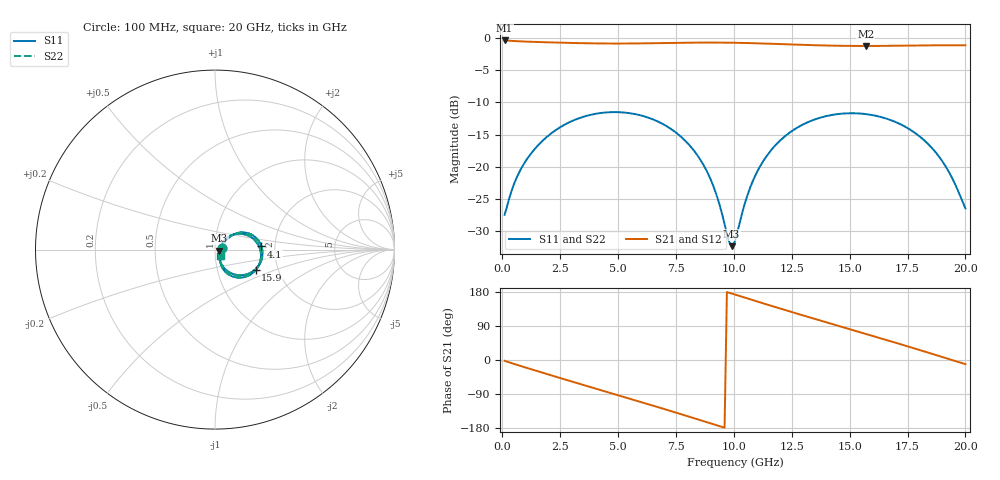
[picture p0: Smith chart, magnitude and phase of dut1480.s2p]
! Touchstone file exported from HFSS 2026.1.0
!  File:  C:/ffzhzh/LocalFiles/Ansys_Project_Files/temp_train_TSV_RDL_1480_1783362827_50076.aedt
!  Generated:  02:46:11 AM Jul  7, 2026
!  Design:  TSV_RDL
!  Project:  temp_train_TSV_RDL_1480_1783362827_50076
! Variables:
!  h_bsmrdl = 2.13um
!  h_ox = 20um
!  h_rdl = 5um
!  h_sub = 55.23um
!  h_tmrdl = 2.49um
!  h_tsv = 55.23um
!  h_via = 3um
!  l_bsmrdl = 756.19um
!  l_sub = 6477.47um
!  l_tmrdl = 919.15um
!  m_sub = 200um
!  pitch = 31.74um
!  r_tsv = 10.87um
!  s_tmrdl = 10um
!  w_bsmrdl = 19.08um
!  w_sub = 500um
!  w_tmrdl = 25.02um
!  x_tsv_center1 = 931.66um
!  x_tsv_center2 = 1706.93um
!  x_tsv_center3 = 2651.1um
!  x_tsv_center4 = 3426.37um
!  x_tsv_center5 = 4370.54um
!  x_tsv_center6 = 5145.81um
# GHz S MA R 50.000000
! Terminal data exported
! Port[1] = TM_RDL1_1_T1
! Port[2] = TM_RDL5_1_T1
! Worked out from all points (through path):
!   200 points, 100 MHz to 20 GHz, reference 50 ohm
!   highest |S21| = -0.36 dB at 100 MHz (marker M1); lowest = -1.2 dB at 15.7 GHz (marker M2)
!   group delay of S21, straight-line fit = 51.4 ps
!   lowest |S11| = -32.4 dB at 9.9 GHz (marker M3), VSWR 1.05, Z = 52.4 - j0.612 ohm
!   |S11| at or under -10 dB: start of sweep to end of sweep
!   |S22| runs from -32.6 to -11.5 dB; largest |S21 - S12| = 1.7e-14
!   S11 on the Smith chart (normalised r, x): 100 MHz: 1.08, +0.02; 4.1 GHz: 1.70, +0.06; 15.9 GHz: 1.53, -0.38; 20 GHz: 1.06, -0.08
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0.1  0.04232 15.4  0.9596 -2.2  0.9596 -2.2  0.04232 15.4
! Gamma 0 0 0 0
! Port Impedance 50 0 50 0
0.6  0.08071 39.5  0.9476 -12.2  0.9476 -12.2  0.08071 39.5
1.3  0.1307 39.4  0.9362 -25.4  0.9362 -25.4  0.1307 39.4
3.5  0.2446 12.9  0.9134 -65.9  0.9134 -65.9  0.2446 12.9
4.1  0.2594 3.8  0.9099 -76.8  0.9099 -76.8  0.2594 3.8
5.5  0.261 -18.2  0.9086 -102.0  0.9086 -102.0  0.2611 -18.3
6.8  0.2212 -39.0  0.9147 -125.8  0.9147 -125.8  0.2212 -39.1
7.9  0.1594 -55.7  0.9212 -146.4  0.9212 -146.4  0.1594 -55.9
8.7  0.1023 -65.1  0.9239 -161.5  0.9239 -161.5  0.1023 -65.4
9.2  0.06425 -65.7  0.924 -171.1  0.924 -171.1  0.06413 -66.2
9.9  0.02412 -14.0  0.9215 175.5  0.9215 175.5  0.02354 -14.3
10.1  0.02842 18.1  0.9203 171.7  0.9203 171.7  0.02787 18.7
10.6  0.06103 43.8  0.9161 162.2  0.9161 162.2  0.0607 44.3
11.3  0.1128 42.2  0.9084 148.9  0.9084 148.9  0.1126 42.6
12.2  0.1722 30.8  0.8967 132.1  0.8967 132.1  0.172 31.0
13.4  0.2298 12.5  0.8819 110.2  0.8819 110.2  0.2297 12.7
14.5  0.2569 -4.9  0.8727 90.4  0.8727 90.4  0.2568 -4.7
15.7  0.2567 -23.8  0.8695 68.9  0.8695 68.9  0.2566 -23.6
15.9  0.2536 -27.0  0.8696 65.3  0.8696 65.3  0.2536 -26.7
16.7  0.2331 -39.3  0.8716 50.8  0.8716 50.8  0.2331 -39.0
18.6  0.137 -65.0  0.8798 15.6  0.8798 15.6  0.1372 -64.4
20  0.04743 -51.7  0.8804 -11.0  0.8804 -11.0  0.04854 -50.6
